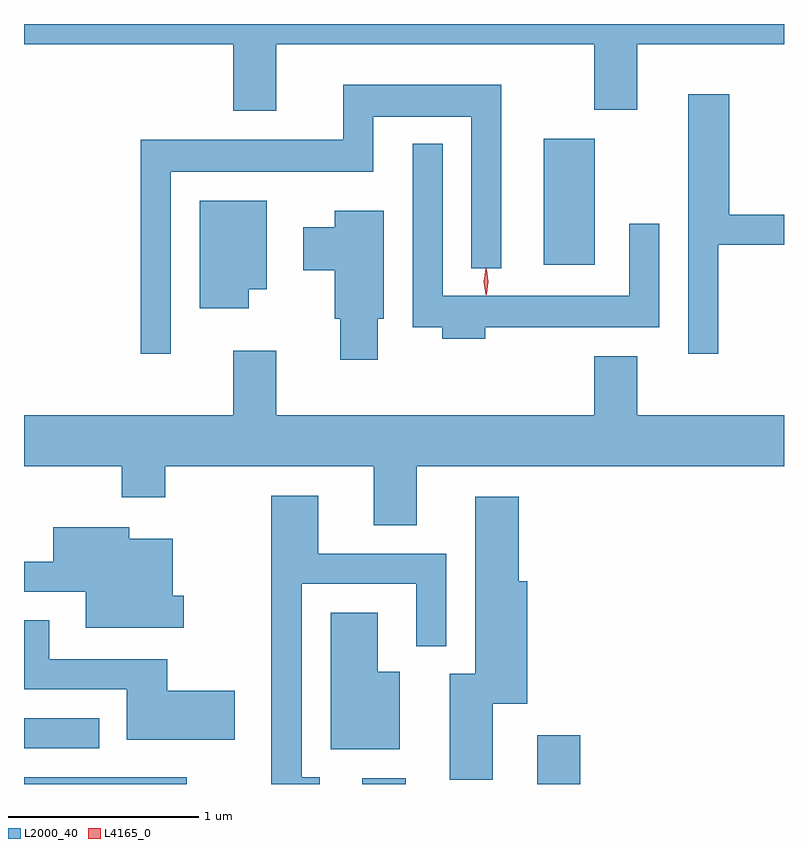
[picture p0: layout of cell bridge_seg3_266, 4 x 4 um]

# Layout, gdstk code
import gdstk
lib = gdstk.Library(unit=1e-6, precision=1e-09)
def R(c, l, rs):  # rectangles x0, y0, x1, y1
    for r in rs: c.add(gdstk.rectangle(r[:2], r[2:], *l))
def P(c, l, *ps):  # polygons
    for p in ps: c.add(gdstk.Polygon(p, *l))
L2000_40 = (2000, 40)
L4165_0 = (4165, 0)

bridge_seg3_266 = lib.new_cell('bridge_seg3_266')
R(bridge_seg3_266, L2000_40, [(1017.271,1133.223,1018.128,1133.259), (1019.051,1133.223,1019.279,1133.254), (1019.971,1133.223,1020.199,1133.479), (1017.271,1133.411,1017.668,1133.569), (1020.006,1135.956,1020.274,1136.619)])
P(bridge_seg3_266, L2000_40, [(1018.599,1137.116),(1020.271,1137.116),(1020.271,1136.771),(1020.499,1136.771),(1020.499,1137.116),(1021.271,1137.116),(1021.271,1137.223),(1017.271,1137.223),(1017.271,1137.116),(1018.371,1137.116),(1018.371,1136.766),(1018.599,1136.766)],
  [(1018.044,1136.446),(1019.109,1136.446),(1019.109,1136.736),(1019.626,1136.736),(1019.626,1135.938),(1019.784,1135.938),(1019.784,1136.904),(1018.951,1136.904),(1018.951,1136.614),(1017.886,1136.614),(1017.886,1135.488),(1018.044,1135.488)],
  [(1020.924,1136.061),(1021.271,1136.061),(1021.271,1136.219),(1020.984,1136.219),(1020.984,1136.854),(1020.766,1136.854),(1020.766,1135.488),(1020.924,1135.488)],
  [(1019.699,1135.626),(1020.614,1135.626),(1020.614,1136.173),(1020.456,1136.173),(1020.456,1135.794),(1019.474,1135.794),(1019.474,1136.593),(1019.316,1136.593),(1019.316,1135.626),(1019.471,1135.626),(1019.471,1135.566),(1019.699,1135.566)],
  [(1018.454,1135.826),(1018.549,1135.826),(1018.549,1136.294),(1018.196,1136.294),(1018.196,1135.726),(1018.454,1135.726)],
  [(1019.134,1135.671),(1019.164,1135.671),(1019.164,1136.239),(1018.906,1136.239),(1018.906,1136.154),(1018.741,1136.154),(1018.741,1135.926),(1018.906,1135.926),(1018.906,1135.671),(1018.936,1135.671),(1018.936,1135.456),(1019.134,1135.456)],
  [(1019.339,1134.896),(1021.271,1134.896),(1021.271,1135.164),(1020.499,1135.164),(1020.499,1135.474),(1020.271,1135.474),(1020.271,1135.164),(1018.599,1135.164),(1018.599,1135.504),(1018.371,1135.504),(1018.371,1135.164),(1017.271,1135.164),(1017.271,1134.896),(1017.786,1134.896),(1017.786,1134.731),(1018.014,1134.731),(1018.014,1134.896),(1019.111,1134.896),(1019.111,1134.586),(1019.339,1134.586)],
  [(1018.828,1133.259),(1018.734,1133.259),(1018.734,1134.276),(1019.336,1134.276),(1019.336,1133.948),(1019.494,1133.948),(1019.494,1134.434),(1018.819,1134.434),(1018.819,1134.739),(1018.571,1134.739),(1018.571,1133.223),(1018.828,1133.223)],
  [(1019.739,1133.646),(1019.919,1133.646),(1019.919,1134.289),(1019.874,1134.289),(1019.874,1134.734),(1019.646,1134.734),(1019.646,1133.804),(1019.511,1133.804),(1019.511,1133.246),(1019.739,1133.246)],
  [(1018.113,1134.214),(1018.054,1134.214),(1018.054,1134.514),(1017.824,1134.514),(1017.824,1134.574),(1017.426,1134.574),(1017.426,1134.394),(1017.271,1134.394),(1017.271,1134.236),(1017.596,1134.236),(1017.596,1134.046),(1018.113,1134.046)],
  [(1019.249,1133.814),(1019.134,1133.814),(1019.134,1134.124),(1018.886,1134.124),(1018.886,1133.406),(1019.249,1133.406)],
  [(1018.379,1133.714),(1018.024,1133.714),(1018.024,1133.879),(1017.404,1133.879),(1017.404,1134.084),(1017.271,1134.084),(1017.271,1133.721),(1017.811,1133.721),(1017.811,1133.456),(1018.379,1133.456)])
P(bridge_seg3_266, L4165_0, [(1019.702,1135.797),(1019.702,1135.798),(1019.692,1135.867),(1019.702,1135.936),(1019.702,1135.936),(1019.703,1135.936),(1019.712,1135.867),(1019.703,1135.798)],
  [(1019.705,1135.8),(1019.705,1135.8),(1019.695,1135.866),(1019.705,1135.932),(1019.705,1135.933),(1019.706,1135.932),(1019.715,1135.866),(1019.706,1135.8)])

lib.write_gds('bridge_seg3_266.gds')
